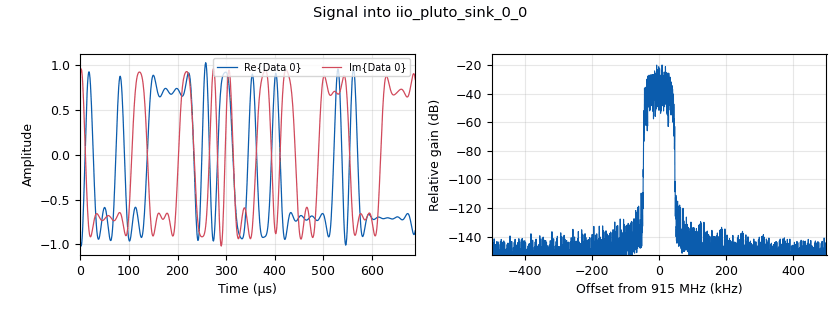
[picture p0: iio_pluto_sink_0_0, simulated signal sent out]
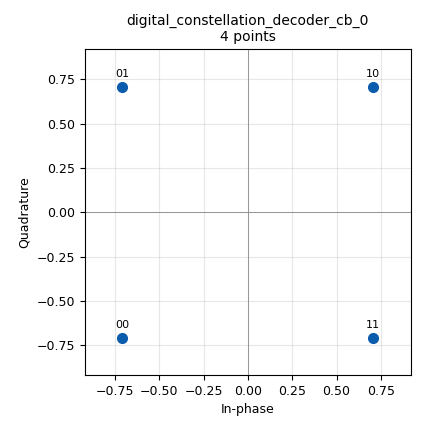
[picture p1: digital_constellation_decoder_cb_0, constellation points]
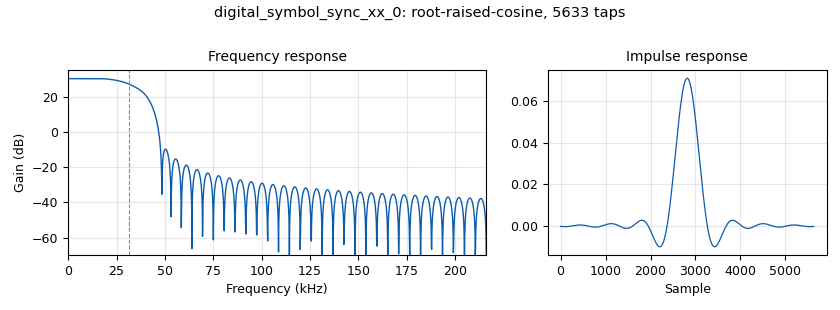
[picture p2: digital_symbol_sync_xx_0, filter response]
options:
  parameters:
    generate_options: qt_gui
    id: Lab02
    output_language: python
    title: Lab 02 - Protocol Design Basics
  states: {}

blocks:
- name: alpha
  id: variable
  parameters:
    value: '0.50'
  states: {}
- name: center_freq
  id: variable
  parameters:
    value: 915e6
  states: {}
- name: constellation
  id: variable_constellation
  parameters:
    const_points: '[-1-1j,-1+1j,1+1j,1-1j]'
    dims: '1'
    normalization: digital.constellation.AMPLITUDE_NORMALIZATION
    precision: '8'
    rot_sym: '4'
    sym_map: '[0,1,2,3]'
    type: calcdist
  states: {}
- name: cycles_per_sample
  id: variable
  parameters:
    value: '0.02'
  states: {}
- name: delay
  id: variable_qtgui_range
  parameters:
    gui_hint: 4,0,1,1
    start: '0'
    step: '1'
    stop: display_width
    value: '0'
  states: {}
- name: display_width
  id: variable
  parameters:
    value: '50'
  states: {}
- name: output_sps
  id: variable
  parameters:
    value: '1'
  states: {}
- name: rcc_taps
  id: variable_rrc_filter_taps
  parameters:
    alpha: alpha
    gain: '32'
    ntaps: 11*sps*32
    samp_rate: 32*samp_rate
    sym_rate: samp_rate/sps
  states: {}
- name: samp_rate
  id: variable
  parameters:
    value: 1e6
  states: {}
- name: sps
  id: variable
  parameters:
    value: '16'
  states: {}
- name: analog_random_source_x_0
  id: analog_random_source_x
  parameters:
    max: '4'
    min: '0'
    num_samps: display_width
    repeat: 'True'
    type: byte
  states: {}
- name: analog_sig_source_x_0
  id: analog_sig_source_x
  parameters:
    amp: '1'
    freq: '0'
    offset: '0'
    phase: '0'
    samp_rate: samp_rate
    type: complex
    waveform: analog.GR_COS_WAVE
  states: {}
- name: blocks_char_to_float_0
  id: blocks_char_to_float
  parameters:
    scale: '1'
  states: {}
- name: blocks_char_to_float_0_1
  id: blocks_char_to_float
  parameters:
    scale: '1'
  states: {}
- name: blocks_delay_0
  id: blocks_delay
  parameters:
    delay: delay
    type: float
  states: {}
- name: blocks_multiply_xx_0
  id: blocks_multiply_xx
  parameters:
    type: complex
  states: {}
- name: blocks_skiphead_0
  id: blocks_skiphead
  parameters:
    num_items: int(samp_rate)
    type: complex
  states: {}
- name: blocks_unpacked_to_packed_xx_0
  id: blocks_unpacked_to_packed_xx
  parameters:
    bits_per_chunk: '2'
    endianness: gr.GR_MSB_FIRST
    type: byte
  states: {}
- name: digital_constellation_decoder_cb_0
  id: digital_constellation_decoder_cb
  parameters:
    constellation: constellation
  states: {}
- name: digital_constellation_modulator_0_0
  id: digital_constellation_modulator
  parameters:
    constellation: constellation
    differential: 'True'
    excess_bw: alpha
    samples_per_symbol: sps
  states: {}
- name: digital_costas_loop_cc_0
  id: digital_costas_loop_cc
  parameters:
    order: constellation.arity()
    w: 2*math.pi*cycles_per_sample
  states: {}
- name: digital_diff_decoder_bb_0
  id: digital_diff_decoder_bb
  parameters:
    coding: digital.DIFF_DIFFERENTIAL
    modulus: '4'
  states: {}
- name: digital_fll_band_edge_cc_0
  id: digital_fll_band_edge_cc
  parameters:
    filter_size: sps*2+1
    rolloff: alpha
    samps_per_sym: sps
    type: cc
    w: 2*math.pi/sps/100
  states: {}
- name: digital_symbol_sync_xx_0
  id: digital_symbol_sync_xx
  parameters:
    damping: '1.0'
    loop_bw: '0.045'
    max_dev: '0.1'
    nfilters: '32'
    osps: output_sps
    pfb_mf_taps: rcc_taps
    resamp_type: digital.IR_PFB_MF
    sps: sps
    ted_gain: '1.0'
    ted_type: digital.TED_SIGNAL_TIMES_SLOPE_ML
    type: cc
  states: {}
- name: iio_pluto_sink_0_0
  id: iio_pluto_sink
  parameters:
    attenuation1: '10'
    bandwidth: int(samp_rate)
    buffer_size: '32768'
    cyclic: 'False'
    filter_source: '''Auto'''
    frequency: int(center_freq)
    samplerate: int(samp_rate)
    type: fc32
    uri: usb:3.3.5
  states: {}
- name: iio_pluto_source_0
  id: iio_pluto_source
  parameters:
    bandwidth: 20*int(samp_rate)
    bbdc: 'True'
    buffer_size: '32768'
    filter_source: '''Auto'''
    frequency: int(center_freq)
    gain1: '''slow_attack'''
    quadrature: 'True'
    rfdc: 'True'
    samplerate: int(samp_rate)
    type: fc32
    uri: usb:3.4.5
  states: {}
- name: import_0
  id: import
  parameters:
    imports: import math
  states: {}
- name: qtgui_time_sink_x_2_1
  id: qtgui_time_sink_x
  parameters:
    alpha1: '0.5'
    color1: black
    gui_hint: 0,0,4,1
    label1: Input Data
    label2: Received Data
    marker2: '0'
    name: '"output"'
    nconnections: '2'
    size: display_width
    srate: samp_rate/sps*output_sps
    type: float
    ymax: '3.5'
    ymin: '-0.5'
  states: {}
- name: virtual_sink_0
  id: virtual_sink
  parameters:
    stream_id: RX1
  states: {}
- name: virtual_source_0
  id: virtual_source
  parameters:
    stream_id: RX1
  states: {}

connections:
- [analog_random_source_x_0, '0', blocks_char_to_float_0, '0']
- [analog_random_source_x_0, '0', blocks_unpacked_to_packed_xx_0, '0']
- [analog_sig_source_x_0, '0', blocks_multiply_xx_0, '1']
- [blocks_char_to_float_0, '0', qtgui_time_sink_x_2_1, '0']
- [blocks_char_to_float_0_1, '0', blocks_delay_0, '0']
- [blocks_delay_0, '0', qtgui_time_sink_x_2_1, '1']
- [blocks_multiply_xx_0, '0', digital_fll_band_edge_cc_0, '0']
- [blocks_skiphead_0, '0', digital_symbol_sync_xx_0, '0']
- [blocks_unpacked_to_packed_xx_0, '0', digital_constellation_modulator_0_0, '0']
- [digital_constellation_decoder_cb_0, '0', digital_diff_decoder_bb_0, '0']
- [digital_constellation_modulator_0_0, '0', iio_pluto_sink_0_0, '0']
- [digital_costas_loop_cc_0, '0', digital_constellation_decoder_cb_0, '0']
- [digital_diff_decoder_bb_0, '0', blocks_char_to_float_0_1, '0']
- [digital_fll_band_edge_cc_0, '0', blocks_skiphead_0, '0']
- [digital_symbol_sync_xx_0, '0', virtual_sink_0, '0']
- [iio_pluto_source_0, '0', blocks_multiply_xx_0, '0']
- [virtual_source_0, '0', digital_costas_loop_cc_0, '0']

metadata:
  file_format: 1
  grc_version: 3.10.10.0
